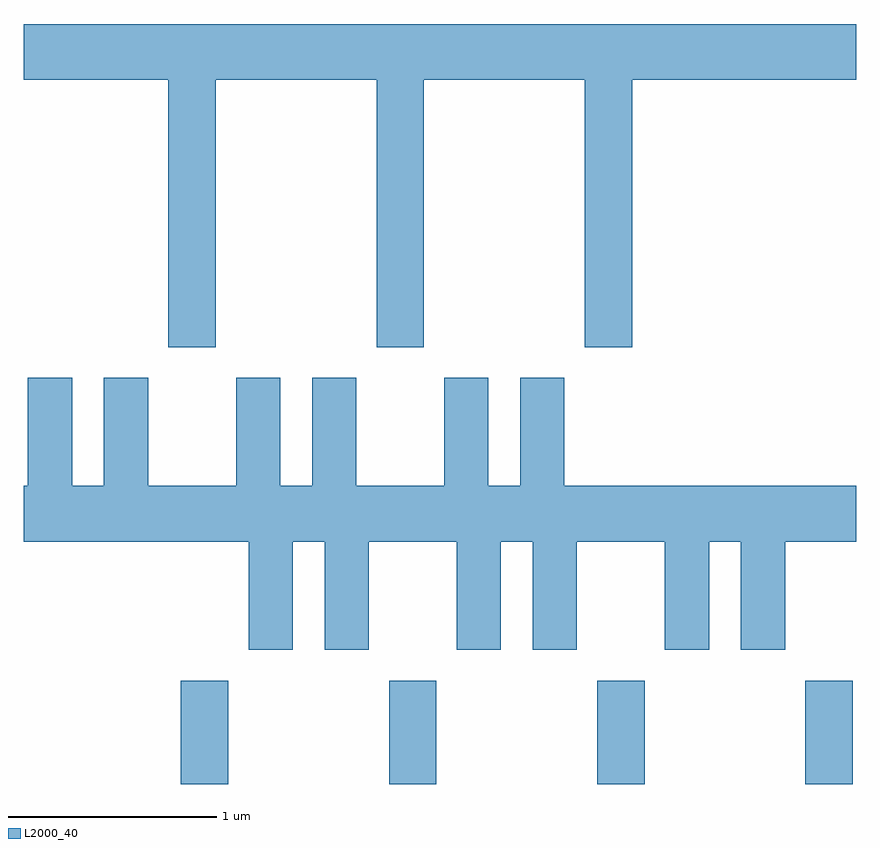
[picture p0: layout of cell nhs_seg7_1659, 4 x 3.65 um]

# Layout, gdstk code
import gdstk
lib = gdstk.Library(unit=1e-6, precision=1e-09)
def R(c, l, rs):  # rectangles x0, y0, x1, y1
    for r in rs: c.add(gdstk.rectangle(r[:2], r[2:], *l))
def A(c, l, x, y, w, h, nx, ny, dx, dy):  # array of equal rectangles
    R(c, l, [(x+i*dx, y+j*dy, x+i*dx+w, y+j*dy+h) for i in range(nx) for j in range(ny)])
def P(c, l, *ps):  # polygons
    for p in ps: c.add(gdstk.Polygon(p, *l))
L2000_40 = (2000, 40)

nhs_seg7_1659 = lib.new_cell('nhs_seg7_1659')
A(nhs_seg7_1659, L2000_40, 236.366, 1724.252, 0.228, 0.497, 4, 1, 1, 0)
P(nhs_seg7_1659, L2000_40, [(236.534,1727.636),(237.306,1727.636),(237.306,1726.351),(237.534,1726.351),(237.534,1727.636),(238.306,1727.636),(238.306,1726.351),(238.534,1726.351),(238.534,1727.636),(239.611,1727.636),(239.611,1727.904),(235.611,1727.904),(235.611,1727.636),(236.306,1727.636),(236.306,1726.351),(236.534,1726.351)],
  [(236.904,1725.416),(237.056,1725.416),(237.056,1724.896),(237.269,1724.896),(237.269,1725.416),(237.691,1725.416),(237.691,1724.896),(237.904,1724.896),(237.904,1725.416),(238.056,1725.416),(238.056,1724.896),(238.269,1724.896),(238.269,1725.416),(238.691,1725.416),(238.691,1724.896),(238.904,1724.896),(238.904,1725.416),(239.056,1725.416),(239.056,1724.896),(239.269,1724.896),(239.269,1725.416),(239.611,1725.416),(239.611,1725.684),(238.209,1725.684),(238.209,1726.204),(237.996,1726.204),(237.996,1725.684),(237.844,1725.684),(237.844,1726.204),(237.631,1726.204),(237.631,1725.684),(237.209,1725.684),(237.209,1726.204),(236.996,1726.204),(236.996,1725.684),(236.844,1725.684),(236.844,1726.204),(236.631,1726.204),(236.631,1725.684),(236.209,1725.684),(236.209,1726.204),(235.996,1726.204),(235.996,1725.684),(235.844,1725.684),(235.844,1726.204),(235.631,1726.204),(235.631,1725.684),(235.611,1725.684),(235.611,1725.416),(236.691,1725.416),(236.691,1724.896),(236.904,1724.896)])

lib.write_gds('nhs_seg7_1659.gds')
